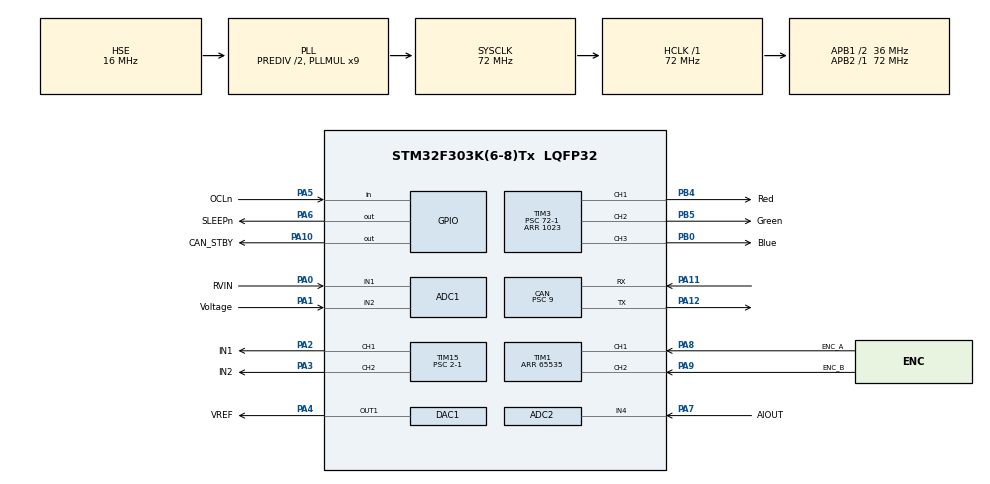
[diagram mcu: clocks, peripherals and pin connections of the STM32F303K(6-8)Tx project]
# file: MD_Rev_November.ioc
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ADC1.Channel-0\#ChannelRegularConversion=ADC_CHANNEL_1
ADC1.Channel-1\#ChannelRegularConversion=ADC_CHANNEL_2
ADC1.ClockPrescaler=ADC_CLOCK_SYNC_PCLK_DIV4
ADC1.ContinuousConvMode=ENABLE
ADC1.DMAContinuousRequests=ENABLE
ADC1.EnableInjectedConversion=ENABLE
ADC1.Mode=ADC_MODE_INDEPENDENT
ADC1.NbrOfConversion=2
ADC1.NbrOfConversionFlag=1
ADC1.Offset-0\#ChannelRegularConversion=0
ADC1.Offset-1\#ChannelRegularConversion=0
ADC1.OffsetNumber-0\#ChannelRegularConversion=ADC_OFFSET_NONE
ADC1.OffsetNumber-1\#ChannelRegularConversion=ADC_OFFSET_NONE
ADC1.Overrun=ADC_OVR_DATA_PRESERVED
ADC1.Rank-0\#ChannelRegularConversion=1
ADC1.Rank-1\#ChannelRegularConversion=2
ADC1.SamplingTime-0\#ChannelRegularConversion=ADC_SAMPLETIME_19CYCLES_5
ADC1.SamplingTime-1\#ChannelRegularConversion=ADC_SAMPLETIME_19CYCLES_5
ADC1.SubFamily=STM32F303x8
ADC1.master=1
ADC2.Channel-0\#ChannelRegularConversion=ADC_CHANNEL_4
ADC2.Channel-1\#ChannelRegularConversion=ADC_CHANNEL_4
ADC2.ClockPrescaler=ADC_CLOCK_SYNC_PCLK_DIV4
ADC2.ContinuousConvMode=ENABLE
ADC2.DMAContinuousRequests=ENABLE
ADC2.EnableInjectedConversion=ENABLE
ADC2.NbrOfConversion=2
ADC2.NbrOfConversionFlag=1
ADC2.Offset-0\#ChannelRegularConversion=0
ADC2.Offset-1\#ChannelRegularConversion=0
ADC2.OffsetNumber-0\#ChannelRegularConversion=ADC_OFFSET_NONE
ADC2.OffsetNumber-1\#ChannelRegularConversion=ADC_OFFSET_NONE
ADC2.Overrun=ADC_OVR_DATA_PRESERVED
ADC2.Rank-0\#ChannelRegularConversion=1
ADC2.Rank-1\#ChannelRegularConversion=2
ADC2.SamplingTime-0\#ChannelRegularConversion=ADC_SAMPLETIME_19CYCLES_5
ADC2.SamplingTime-1\#ChannelRegularConversion=ADC_SAMPLETIME_19CYCLES_5
CAN.BS1=CAN_BS1_6TQ
CAN.CalculateTimeQuantum=250.0
CAN.Prescaler=9
Dma.ADC1.0.Direction=DMA_PERIPH_TO_MEMORY
Dma.ADC1.0.Instance=DMA1_Channel1
Dma.ADC1.0.MemDataAlignment=DMA_MDATAALIGN_HALFWORD
Dma.ADC1.0.MemInc=DMA_MINC_ENABLE
Dma.ADC1.0.Mode=DMA_CIRCULAR
Dma.ADC1.0.PeriphDataAlignment=DMA_PDATAALIGN_HALFWORD
Dma.ADC1.0.PeriphInc=DMA_PINC_DISABLE
Dma.ADC1.0.Priority=DMA_PRIORITY_HIGH
Dma.ADC2.1.Direction=DMA_PERIPH_TO_MEMORY
Dma.ADC2.1.Instance=DMA1_Channel2
Dma.ADC2.1.MemDataAlignment=DMA_MDATAALIGN_HALFWORD
Dma.ADC2.1.MemInc=DMA_MINC_ENABLE
Dma.ADC2.1.Mode=DMA_CIRCULAR
Dma.ADC2.1.PeriphDataAlignment=DMA_PDATAALIGN_HALFWORD
Dma.ADC2.1.PeriphInc=DMA_PINC_DISABLE
Dma.ADC2.1.Priority=DMA_PRIORITY_HIGH
Dma.Request0=ADC1
Dma.Request1=ADC2
Mcu.Family=STM32F3
Mcu.Name=STM32F303K(6-8)Tx
Mcu.Package=LQFP32
NVIC.CAN_RX0_IRQn=true\:0\:0\:false\:false\:true\:true\:true
NVIC.CAN_RX1_IRQn=true\:0\:0\:false\:false\:true\:true\:true
NVIC.CAN_TX_IRQn=true\:0\:0\:false\:false\:true\:true\:true
NVIC.DMA1_Channel1_IRQn=true\:0\:0\:false\:false\:true\:false\:true
NVIC.DMA1_Channel2_IRQn=true\:0\:0\:false\:false\:true\:false\:true
NVIC.PriorityGroup=NVIC_PRIORITYGROUP_4
PA0.GPIO_Label=RVIN
PA0.Mode=IN1-Single-Ended
PA0.Signal=ADC1_IN1
PA1.GPIO_Label=Voltage
PA1.Mode=IN2-Single-Ended
PA1.Signal=ADC1_IN2
PA10.GPIO_Label=CAN_STBY
PA10.Signal=GPIO_Output
PA11.Mode=Master
PA11.Signal=CAN_RX
PA12.Mode=Master
PA12.Signal=CAN_TX
PA13.Mode=Serial_Wire
PA13.Signal=SYS_JTMS-SWDIO
PA14.Mode=Serial_Wire
PA14.Signal=SYS_JTCK-SWCLK
PA2.GPIO_Label=IN1
PA2.Signal=S_TIM15_CH1
PA3.GPIO_Label=IN2
PA3.Signal=S_TIM15_CH2
PA4.GPIO_Label=VREF
PA4.Signal=COMP_DAC11_group
PA5.GPIO_Label=OCLn
PA5.Signal=GPIO_Input
PA6.GPIO_Label=SLEEPn
PA6.Signal=GPIO_Output
PA7.GPIO_Label=AIOUT
PA7.Mode=IN4-Single-Ended
PA7.Signal=ADC2_IN4
PA8.GPIO_Label=ENC_A
PA8.Signal=S_TIM1_CH1
PA9.GPIO_Label=ENC_B
PA9.Signal=S_TIM1_CH2
PB0.GPIO_Label=Blue
PB0.Signal=S_TIM3_CH3
PB4.GPIO_Label=Red
PB4.Signal=S_TIM3_CH1
PB5.GPIO_Label=Green
PB5.Signal=S_TIM3_CH2
PF0\ /\ OSC_IN.Mode=HSE-External-Oscillator
PF0\ /\ OSC_IN.Signal=RCC_OSC_IN
PF1\ /\ OSC_OUT.Mode=HSE-External-Oscillator
PF1\ /\ OSC_OUT.Signal=RCC_OSC_OUT
ProjectManager.HeapSize=0x200
ProjectManager.StackSize=0x400
ProjectManager.TargetToolchain=STM32CubeIDE
RCC.AHBFreq_Value=72000000
RCC.APB1CLKDivider=RCC_HCLK_DIV2
RCC.APB1Freq_Value=36000000
RCC.APB1TimFreq_Value=72000000
RCC.APB2Freq_Value=72000000
RCC.APB2TimFreq_Value=72000000
RCC.CortexFreq_Value=72000000
RCC.HCLKFreq_Value=72000000
RCC.HSE_VALUE=16000000
RCC.HSI_VALUE=8000000
RCC.PLLMUL=RCC_PLL_MUL9
RCC.PLLSourceVirtual=RCC_PLLSOURCE_HSE
RCC.RCC_PLLsource_Clock_Source_FROM_HSE=RCC_HSE_PREDIV_DIV2
RCC.SYSCLKFreq_VALUE=72000000
RCC.SYSCLKSourceVirtual=RCC_SYSCLKSOURCE_PLLCLK
SH.COMP_DAC11_group.0=DAC1_OUT1,DAC_OUT1
SH.S_TIM15_CH1.0=TIM15_CH1,PWM Generation1 CH1
SH.S_TIM15_CH2.0=TIM15_CH2,PWM Generation2 CH2
SH.S_TIM1_CH1.0=TIM1_CH1,Encoder_Interface
SH.S_TIM1_CH2.0=TIM1_CH2,Encoder_Interface
SH.S_TIM3_CH1.0=TIM3_CH1,PWM Generation1 CH1
SH.S_TIM3_CH2.0=TIM3_CH2,PWM Generation2 CH2
SH.S_TIM3_CH3.0=TIM3_CH3,PWM Generation3 CH3
TIM1.EncoderMode=TIM_ENCODERMODE_TI12
TIM1.IC1Filter=3
TIM1.IC1Polarity=TIM_ICPOLARITY_FALLING
TIM1.IC2Filter=3
TIM1.IC2Polarity=TIM_ICPOLARITY_FALLING
TIM1.Period=65535
TIM15.Channel-PWM\ Generation1\ CH1=TIM_CHANNEL_1
TIM15.Channel-PWM\ Generation2\ CH2=TIM_CHANNEL_2
TIM15.Period=1023
TIM15.Prescaler=2-1
TIM3.Channel-PWM\ Generation1\ CH1=TIM_CHANNEL_1
TIM3.Channel-PWM\ Generation2\ CH2=TIM_CHANNEL_2
TIM3.Channel-PWM\ Generation3\ CH3=TIM_CHANNEL_3
TIM3.Period=1023
TIM3.Prescaler=72-1
board=custom

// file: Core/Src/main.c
/* USER CODE BEGIN Header */
/**
 ******************************************************************************
 * @file           : main.c
 * @brief          : Main program body
 ******************************************************************************
 * @attention
 *
 * <h2><center>&copy; Copyright (c) 2019 STMicroelectronics.
 * All rights reserved.</center></h2>
 *
 * This software component is licensed by ST under BSD 3-Clause license,
 * the "License"; You may not use this file except in compliance with the
 * License. You may obtain a copy of the License at:
 *                        opensource.org/licenses/BSD-3-Clause
 *
 ******************************************************************************
 */
/* USER CODE END Header */

#include "main.h"
#include "adc.h"
#include "can.h"
#include "dac.h"
#include "dma.h"
#include "tim.h"
#include "gpio.h"
#include <string.h>

void SystemClock_Config(void);

int main(void) {

	/* MCU Configuration--------------------------------------------------------*/

	/* Reset of all peripherals, Initializes the Flash interface and the Systick. */
	HAL_Init();

	/* Configure the system clock */
	SystemClock_Config();

	/* Initialize all configured peripherals */
	MX_GPIO_Init();
	MX_DMA_Init();
	MX_ADC1_Init();
	MX_ADC2_Init();
	MX_CAN_Init();
	MX_DAC1_Init();
	MX_TIM1_Init();
	MX_TIM3_Init();
	MX_TIM15_Init();
	/* USER CODE BEGIN 2 */
	DAC_Start();
	Encoder_Start();
	Pwm_Start();
	CAN_Start();
	ADC_Start();
	/* USER CODE END 2 */

	/* Infinite loop */
	/* USER CODE BEGIN WHILE */
	int counter = 0;
//	RGB_Set(1000, 0, 0);
//	HAL_Delay(1000);
//	RGB_Set(0, 1000, 0);
//	HAL_Delay(1000);
//	RGB_Set(0, 0, 1000);
//	HAL_Delay(1000);
//	RGB_Set(100, 0, 0);
//	HAL_Delay(1000);
//	RGB_Set(0, 100, 0);
//	HAL_Delay(1000);
//	RGB_Set(0, 0, 100);
//	HAL_Delay(1000);
	HAL_GPIO_WritePin(SLEEPn_GPIO_Port, SLEEPn_Pin, 1);
	HAL_GPIO_WritePin(CAN_STBY_GPIO_Port, CAN_STBY_Pin, 0);

	while (1) {
		int16_t cur = (RxData[ID * 2 - 2] << 8) + (RxData[ID * 2 - 1] << 0);
		double current = (double) cur;
		double current2 = 1023.0 - current / 0x7fff * 1023.0;
		if (current > 0.0)
			Pwm_Set(current2, 1023);
		else if (current < 0.0) {
			Pwm_Set(1023, -current2);
			current = -current;
		} else
			Pwm_Set(1023, 1023);
		DAC_set_voltage(2.5 * current / 0x7fff);
		int32_t enc_val = Encoder_Read();
		memcpy(&TxData[0],enc_val,4);
		memcpy(&TxData[4],&ADCBuffer1[1],2);
		memcpy(&TxData[6],&ADCBuffer2[0],2);
//		TxData[0] = (enc_val >> 24) & 0xff; //position32bit
//		TxData[1] = (enc_val >> 16) & 0xff;
//		TxData[2] = (enc_val >> 8) & 0xff;
//		TxData[3] = (enc_val >> 0) & 0xff;

//		TxData[4] = (ADCBuffer1[1] >> 8) & 0xff; //voltage
//		TxData[5] = (ADCBuffer1[1] >> 0) & 0xff;
//
//		TxData[6] = (ADCBuffer2[0] >> 8) & 0xff; //current
//		TxData[7] = (ADCBuffer2[0] >> 0) & 0xff;
//
//		ADCBuffer1;
//		ADCBuffer2;
//		uint16_t voltage = ADCValue[0];
//		uint16_t aiout = ADCValue[1];
//		TxData[4] = (ADCValue[1] >> 8) & 0xff; //current
//		TxData[5] = (ADCValue[1] >> 0) & 0xff;
//
//		TxData[6] = (ADCValue[0] >> 8) & 0xff; //voltage
//		TxData[7] = (ADCValue[0] >> 0) & 0xff;
//		TxData[0]=0xAA;
//		TxData[1]=0xAB;
//		TxData[2]=0xA9;
//		TxData[3]=0xAA;
//		TxData[4]=0xAA;
//		TxData[5]=0xAB;
//		TxData[6]=0xAB;
//		TxData[7]=0xA9;

		CAN_Send();
//		RGB_Set(abs(enc_val), counter, 500);
		RGB_Set(RxData[0], RxData[1], RxData[2]);

		HAL_Delay(1);
		counter++;
		/* USER CODE END WHILE */

	}
}

void SystemClock_Config(void) {
	RCC_OscInitTypeDef RCC_OscInitStruct = { 0 };
	RCC_ClkInitTypeDef RCC_ClkInitStruct = { 0 };
	RCC_PeriphCLKInitTypeDef PeriphClkInit = { 0 };

	/** Initializes the CPU, AHB and APB busses clocks
	 */
	RCC_OscInitStruct.OscillatorType = RCC_OSCILLATORTYPE_HSE;
	RCC_OscInitStruct.HSEState = RCC_HSE_ON;
	RCC_OscInitStruct.HSEPredivValue = RCC_HSE_PREDIV_DIV2;
	RCC_OscInitStruct.HSIState = RCC_HSI_ON;
	RCC_OscInitStruct.PLL.PLLState = RCC_PLL_ON;
	RCC_OscInitStruct.PLL.PLLSource = RCC_PLLSOURCE_HSE;
	RCC_OscInitStruct.PLL.PLLMUL = RCC_PLL_MUL9;
	if (HAL_RCC_OscConfig(&RCC_OscInitStruct) != HAL_OK) {
		Error_Handler();
	}
	/** Initializes the CPU, AHB and APB busses clocks
	 */
	RCC_ClkInitStruct.ClockType = RCC_CLOCKTYPE_HCLK | RCC_CLOCKTYPE_SYSCLK
			| RCC_CLOCKTYPE_PCLK1 | RCC_CLOCKTYPE_PCLK2;
	RCC_ClkInitStruct.SYSCLKSource = RCC_SYSCLKSOURCE_PLLCLK;
	RCC_ClkInitStruct.AHBCLKDivider = RCC_SYSCLK_DIV1;
	RCC_ClkInitStruct.APB1CLKDivider = RCC_HCLK_DIV2;
	RCC_ClkInitStruct.APB2CLKDivider = RCC_HCLK_DIV1;

	if (HAL_RCC_ClockConfig(&RCC_ClkInitStruct, FLASH_LATENCY_2) != HAL_OK) {
		Error_Handler();
	}
	PeriphClkInit.PeriphClockSelection = RCC_PERIPHCLK_TIM1;
	PeriphClkInit.Tim1ClockSelection = RCC_TIM1CLK_HCLK;
	if (HAL_RCCEx_PeriphCLKConfig(&PeriphClkInit) != HAL_OK) {
		Error_Handler();
	}
}

void Error_Handler(void) {
}

/************************ (C) COPYRIGHT STMicroelectronics *****END OF FILE****/
